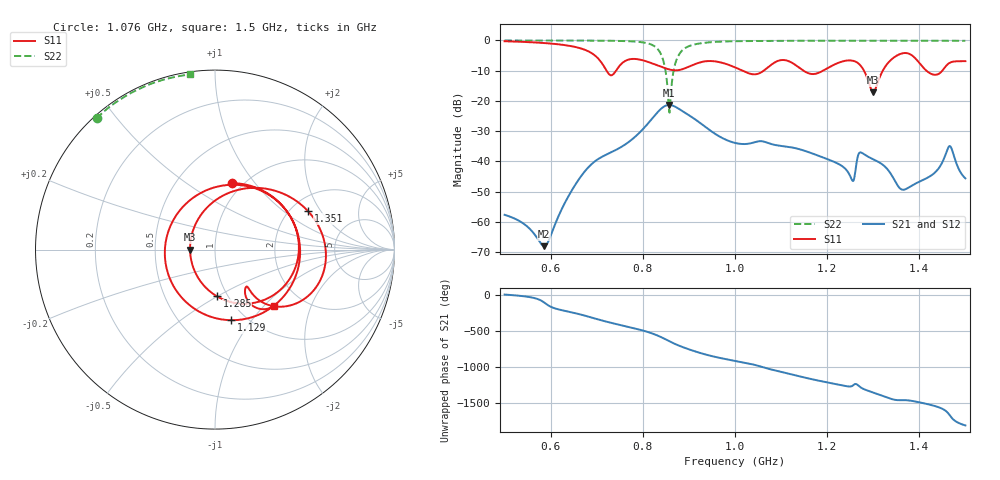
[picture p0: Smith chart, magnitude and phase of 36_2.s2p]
! TOUCHSTONE file generated by CST MICROWAVE STUDIO
! Date and time: Thu Feb 18 07:37:11 2021
! Project name: Scenario_1_Planar_Body_Tissue_Out_of_Line.cst
! Parameters = {L_HA=400; Ltissue=1000; MT=2.54; Rad_Dielectric=30; Rad_Lower=7.3; Rad_Upper=30; Wtissue=1000; a_HA=580; a_WG=246; b_HA=500; b_WG=121; c_HA=0; c_WG=187; d_feed=85; dx1=346; dy1=259.5; h_feed=15; h_lower=18; h_upper=40; hfat=3; hgap=25; hmuscle=50; hskin=1.5}
! Header version: 2018
! Port assignment regex: !\s*Touchstone port\s*([0-9]+)\s*=\s*(CST MWS port|CST DS port)\s*([0-9]+|Zmin|Zmax)\s*\(\"(.*)\"\)(\s*mode\s*([0-9]+))?.*
! Touchstone port assignment:
! Touchstone port 1 = CST MWS port 1 ("")
! Touchstone port 2 = CST MWS port 2 ("")
# GHz S DB R 50
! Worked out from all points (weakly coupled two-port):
!   1003 points, 500 MHz to 1.5 GHz, reference 50 ohm
!   highest |S21| = -21.34 dB at 857 MHz (marker M1); lowest = -68.0 dB at 586 MHz (marker M2)
!   lowest |S11| = -17.1 dB at 1.3 GHz (marker M3), VSWR 1.32, Z = 37.8 + j0.0122 ohm
!   |S11| at or under -10 dB: 1.016 GHz to 1.062 GHz (46.43 MHz wide, 4.47 % of centre); 1.149 GHz to 1.191 GHz (42.47 MHz wide, 3.63 % of centre); 1.28 GHz to 1.321 GHz (40.8 MHz wide, 3.14 % of centre) (the widest 3 of 5)
!   |S22| runs from -23.9 to 0.0 dB; largest |S21 - S12| = 9.6e-05
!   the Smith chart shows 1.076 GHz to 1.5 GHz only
!   S11 on the Smith chart (normalised r, x): 1.076 GHz: 0.89, +0.77; 1.129 GHz: 0.85, -0.80; 1.285 GHz: 0.89, -0.50; 1.351 GHz: 2.46, +1.54; 1.5 GHz: 1.43, -1.14
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0.5  -0.27 -121.7  -57.67 11.6  -57.67 11.6  -0.01 151.1
0.586  -0.86 -154.6  -68.04 -99.9  -68.02 -100.0  -0.01 145.2
0.667  -2.71 148.0  -44.67 90.9  -44.67 90.9  -0.04 138.4
0.72  -9.69 34.3  -37.81 -3.4  -37.81 -3.4  -0.09 132.3
0.746  -9.09 -108.8  -35.85 -43.8  -35.85 -43.8  -0.15 128.2
0.776  -6.13 163.2  -32.79 -88.4  -32.79 -88.4  -0.31 121.6
0.834  -8.40 37.6  -23.43 156.7  -23.43 156.7  -3.19 83.2
0.857  -9.59 -21.0  -21.34 85.0  -21.34 85.0  -23.46 -25.8
0.908  -8.15 -177.7  -25.53 -46.3  -25.53 -46.3  -1.47 163.3
0.939  -6.85 85.9  -28.97 -105.9  -28.98 -105.9  -0.70 152.0
1  -8.90 -64.1  -33.89 170.3  -33.89 170.3  -0.26 140.3
1.043  -11.22 -177.2  -33.65 114.8  -33.65 114.8  -0.19 135.2
1.076  -8.36 75.7  -34.14 55.2  -34.14 55.2  -0.14 132.0
1.129  -7.89 -77.3  -35.56 -26.8  -35.56 -26.8  -0.10 127.3
1.167  -11.11 174.5  -37.33 -84.1  -37.33 -84.1  -0.09 124.2
1.246  -6.61 8.7  -43.72 175.7  -43.72 175.7  -0.08 118.2
1.285  -11.69 -87.7  -38.11 124.6  -38.11 124.6  -0.09 115.3
1.3  -17.14 179.9  -39.30 90.6  -39.31 90.6  -0.09 114.2
1.334  -7.12 50.5  -43.19 12.5  -43.19 12.5  -0.08 111.6
1.351  -5.03 22.5  -47.49 -13.5  -47.49 -13.5  -0.09 110.3
1.466  -7.40 -51.2  -34.91 136.0  -34.96 135.9  -0.11 101.0
1.5  -6.85 -44.1  -45.61 -5.9  -45.61 -5.9  -0.13 98.0
